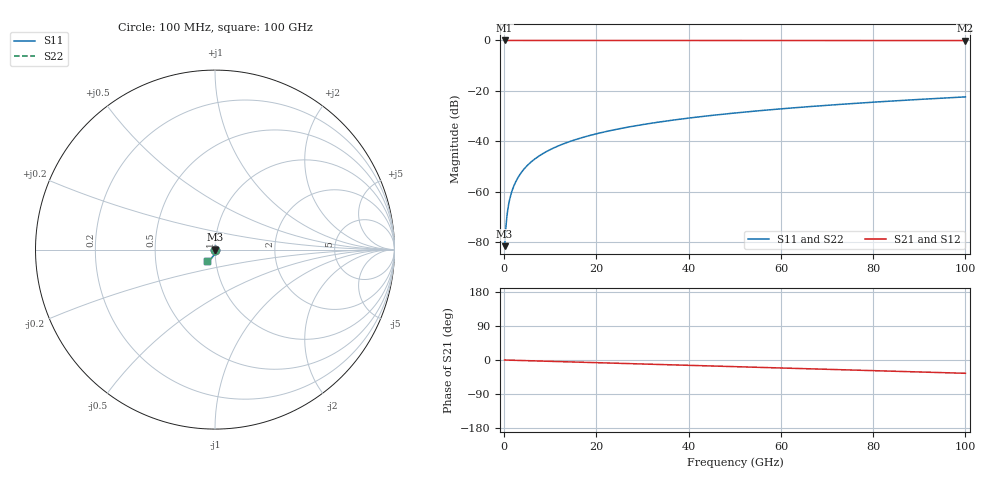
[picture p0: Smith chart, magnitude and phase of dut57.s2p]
! Touchstone file exported from HFSS 2026.1.0
!  File:  C:/ffzhzh/LocalFiles/Ansys_Project_Files/temp_train_TSV_57_1783505045_41296.aedt
!  Generated:  06:05:17 PM Jul  8, 2026
!  Design:  TSV
!  Project:  temp_train_TSV_57_1783505045_41296
! Variables:
!  h_bsmrdl = 2um
!  h_ox = 20um
!  h_rdl = 5um
!  h_sub = 68.3um
!  h_tmrdl = 5um
!  h_tsv = 68.3um
!  h_via = 3um
!  l_bsmrdl = 300um
!  l_sub = 426.46um
!  l_tmrdl = 200um
!  m_sub = 200um
!  pitch = 47.13um
!  r_tsv = 13.23um
!  s_tmrdl = 10um
!  w_bsmrdl = 18um
!  w_sub = 500um
!  w_tmrdl = 12um
!  x_tsv_center1 = 206um
!  x_tsv_center2 = 524um
!  x_tsv_center3 = 736um
!  x_tsv_center4 = 1054um
!  x_tsv_center5 = 1266um
!  x_tsv_center6 = 1584um
# GHz S MA R 50.000000
! Terminal data exported
! Port[1] = TSV1_1_T1
! Port[2] = TSV1_1_T2
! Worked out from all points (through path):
!   1000 points, 100 MHz to 100 GHz, reference 50 ohm
!   highest |S21| = 0.00 dB at 100 MHz (marker M1); lowest = 0.0 dB at 100 GHz (marker M2)
!   group delay of S21, straight-line fit = 974 fs
!   lowest |S11| = -81.5 dB at 100 MHz (marker M3), VSWR 1.00, Z = 50 - j0.00339 ohm
!   |S11| at or under -10 dB: start of sweep to end of sweep
!   |S22| runs from -81.5 to -22.4 dB; largest |S21 - S12| = 3.2e-15
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0.1  8.389e-05 -23.8  0.9999 -0.0  0.9999 -0.0  8.389e-05 -23.8
! Gamma 0 0 0 0
! Port Impedance 50 0 50 0
0.4  0.0002101 -53.0  0.9999 -0.1  0.9999 -0.1  0.0002101 -53.0
0.8  0.0004524 -65.3  0.9998 -0.3  0.9998 -0.3  0.0004524 -65.3
1  0.0005808 -68.8  0.9998 -0.4  0.9998 -0.4  0.0005808 -68.8
1.2  0.0007107 -71.3  0.9998 -0.4  0.9998 -0.4  0.0007107 -71.3
1.5  0.0009071 -74.0  0.9997 -0.5  0.9997 -0.5  0.0009071 -74.0
2  0.001239 -76.9  0.9997 -0.7  0.9997 -0.7  0.001239 -76.9
2.5  0.001576 -78.8  0.9997 -0.9  0.9997 -0.9  0.001576 -78.8
3.2  0.002055 -80.6  0.9996 -1.1  0.9996 -1.1  0.002055 -80.6
4  0.002611 -82.1  0.9996 -1.4  0.9996 -1.4  0.002611 -82.1
5  0.003314 -83.6  0.9995 -1.8  0.9995 -1.8  0.003314 -83.6
6.1  0.004092 -84.8  0.9995 -2.2  0.9995 -2.2  0.004092 -84.8
8.9  0.006088 -87.2  0.9993 -3.1  0.9993 -3.1  0.006088 -87.2
12.4  0.008612 -89.3  0.9992 -4.4  0.9992 -4.4  0.008612 -89.3
16.8  0.01181 -91.6  0.999 -5.9  0.999 -5.9  0.01181 -91.6
24.1  0.01715 -94.9  0.9988 -8.4  0.9988 -8.4  0.01715 -94.9
33.4  0.02402 -98.7  0.9985 -11.7  0.9985 -11.7  0.02402 -98.7
41.2  0.02985 -101.8  0.9981 -14.4  0.9981 -14.4  0.02985 -101.8
50.1  0.03656 -105.2  0.9978 -17.5  0.9978 -17.5  0.03656 -105.2
66.7  0.04931 -111.4  0.9969 -23.4  0.9969 -23.4  0.04931 -111.4
83.4  0.06252 -117.6  0.9959 -29.2  0.9959 -29.2  0.06252 -117.6
100  0.07615 -123.7  0.9946 -35.1  0.9946 -35.1  0.07615 -123.8
